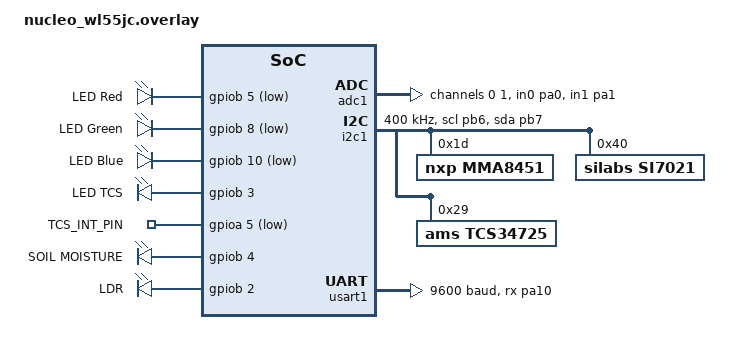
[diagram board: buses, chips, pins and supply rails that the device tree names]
/ {
    aliases { 
        analogin0 = &adc1;            /* alias for ADC device used as analogin0 */
        led0 = &led_r;                /* alias LED0 -> red LED node */
        led1 = &led_g;                /* alias LED1 -> green LED node */
        led2 = &led_b;                /* alias LED2 -> blue LED node */
        sw0  = &user_button_3;        /* alias for user button (if available) */
        rgbled = &rgb_led_ctrl;       /* alias for TCS LED control GPIO */
        tcswake = &tcs_int_pin;       /* alias for TCS interrupt GPIO */
        soil = &soil_gpio_d2;         /* alias for soil moisture power/control GPIO */
        light = &light_gpio_d2;       /* alias for LDR power/control GPIO */
    };

    gpios {
        compatible = "gpio-leds";     /* node compatible for grouped GPIO LEDs */

        /* RGB COMMON ANODE -> use GPIO_ACTIVE_LOW */
        led_r: red_led {
            gpios = <&gpiob 5 GPIO_ACTIVE_LOW>;   /* PB5: red LED, active low for common-anode */
            label = "LED Red";                    
        };
        led_g: green_led {
            gpios = <&gpiob 8 GPIO_ACTIVE_LOW>;   /* PB8: green LED, active low for common-anode */
            label = "LED Green";
        };
        led_b: blue_led {
            gpios = <&gpiob 10 GPIO_ACTIVE_LOW>;  /* PB10: blue LED, active low for common-anode */
            label = "LED Blue";
        };
        rgb_led_ctrl: rgb_led_ctrl {
            gpios = <&gpiob 3 GPIO_ACTIVE_HIGH>;  /* controller GPIO to power/enable TCS LED (active high) */
            label = "LED TCS";
        };
        tcs_int_pin: tcs_int_pin {
            gpios = <&gpioa 5 GPIO_ACTIVE_LOW>;   /* TCS INT pin on PA5 (active low interrupt) */
            label = "TCS_INT_PIN";
        };
        soil_gpio_d2: soil_gpio_d2 {
            gpios = <&gpiob 4 GPIO_ACTIVE_HIGH>;  /* GPIO to enable soil moisture circuit (active high) */
            label = "SOIL MOISTURE";
        };
        light_gpio_d2: light_gpio_d2 {
            gpios = <&gpiob 2 GPIO_ACTIVE_HIGH>;  /* GPIO to enable LDR / light circuit (active high) */
            label = "LDR";
        };
    };
};

&adc1 {
    status = "okay";                         /* enable ADC1 node */
    pinctrl-0 = <&adc1_in0_pa0 &adc1_in1_pa1>; /* pinmux for ADC channels PA0 and PA1 */
    pinctrl-names = "default";
    #address-cells = <1>;                   /* standard DT array sizing for children */
    #size-cells = <0>;

    channel@0 {
        reg = <0>;                          /* channel index 0 (maps to ADC channel 0) */
        zephyr,gain = "ADC_GAIN_1";         /* driver: ADC gain */
        zephyr,reference = "ADC_REF_INTERNAL"; /* driver: ADC reference */
        zephyr,acquisition-time = <ADC_ACQ_TIME_DEFAULT>; /* acquisition time default */
        zephyr,resolution = <12>;           /* 12-bit ADC resolution */
    };

    channel@1 {
        reg = <1>;                          /* channel index 1 (ADC channel 1) */
        zephyr,gain = "ADC_GAIN_1";
        zephyr,reference = "ADC_REF_INTERNAL";
        zephyr,acquisition-time = <ADC_ACQ_TIME_DEFAULT>;
        zephyr,resolution = <12>;           /* 12-bit as well */
    };
};

&i2c1 {
    status = "okay";                         /* enable I2C1 bus */
    clock-frequency = <400000>;              /* 400 kHz fast-mode I2C */
    pinctrl-0 = <&i2c1_scl_pb6 &i2c1_sda_pb7>; /* SCL = PB6, SDA = PB7 pinmux */
    pinctrl-names = "default";

    mma8451@1d {                             /* accelerometer node on addr 0x1d (Hardware address of the chip on the bus (Sensor datasheet I²C address)) */
        compatible = "nxp,mma8451";
        reg = <0x1d>;
        status = "okay";
    };

    si7021@40 {                              /* humidity/temperature sensor on addr 0x40 */
        compatible = "silabs,si7021";
        reg = <0x40>;
        status = "okay";
    };

    tcs34725@29 {                            /* color sensor node on addr 0x29 */
        compatible = "ams,tcs34725";
        reg = <0x29>;
        status = "okay";
    };

};


&usart1 {
    status = "okay";                         /* enable USART1 for GPS */
    current-speed = <9600>;                  /* typical GPS baud */
    pinctrl-0 = <&usart1_rx_pa10>;           /* RX pin mapped to PA10 */
    pinctrl-names = "default";
};

&pinctrl {
    adc1_in0_pa0: adc1_in0_pa0 {
        pinmux = <STM32_PINMUX('A', 0, ANALOG)>; /* PA0 configured as analog for ADC channel 0 */
    };
    adc1_in1_pa1: adc1_in1_pa1 {
        pinmux = <STM32_PINMUX('A', 1, ANALOG)>; /* PA1 configured as analog for ADC channel 1 */
    };
};
